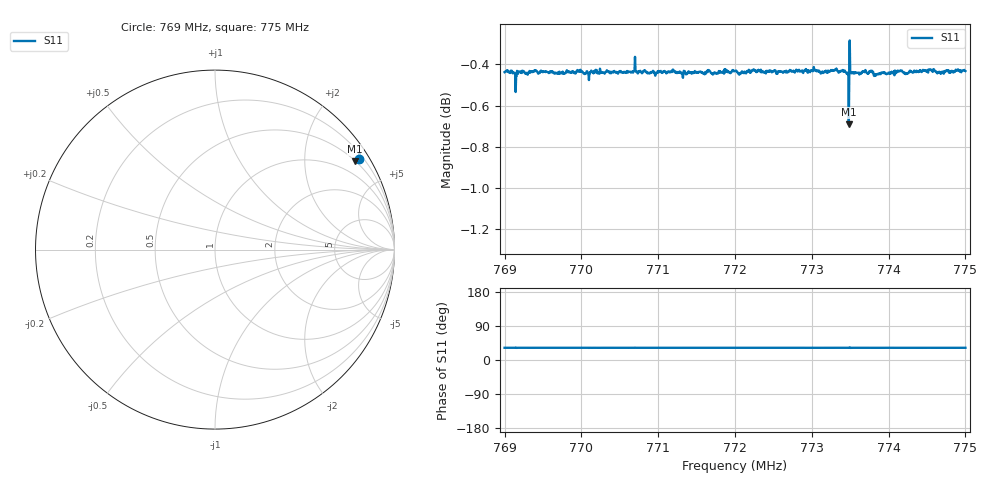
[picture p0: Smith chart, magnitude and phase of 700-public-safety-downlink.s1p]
! Calibrated averaged scanner-service zoom
# Hz S RI R 50
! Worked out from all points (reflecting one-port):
!   1001 points, 769 MHz to 775 MHz, reference 50 ohm
!   lowest |S11| = -0.7 dB at 773.482 MHz (marker M1), VSWR 25.18, Z = 25.3 + j170 ohm
!   phase of S11 starts at 32 deg and turns +0 deg over the sweep
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7.69e8  0.8044 0.5071
7.69108e8  0.804 0.5065
7.69126e8  0.8036 0.5075
7.69396e8  0.8048 0.5074
7.6975e8  0.804 0.5064
7.6996e8  0.8045 0.5077
7.70128e8  0.8055 0.5069
7.705e8  0.8054 0.5066
7.70692e8  0.8058 0.5068
7.7125e8  0.8041 0.5068
7.72e8  0.8052 0.5066
7.7275e8  0.8051 0.5067
7.7302e8  0.8052 0.5078
7.73176e8  0.8056 0.5054
7.73296e8  0.8052 0.5074
7.73446e8  0.8039 0.5074
7.73458e8  0.8035 0.5067
7.73464e8  0.8041 0.5071
7.73482e8  0.7815 0.4923
7.735e8  0.8053 0.506
7.73512e8  0.8043 0.506
7.73518e8  0.8047 0.5062
7.73524e8  0.8043 0.5066
7.7353e8  0.8046 0.5058
7.7425e8  0.8045 0.5057
7.7455e8  0.8059 0.5066
7.74658e8  0.805 0.5066
7.75e8  0.8049 0.5074
